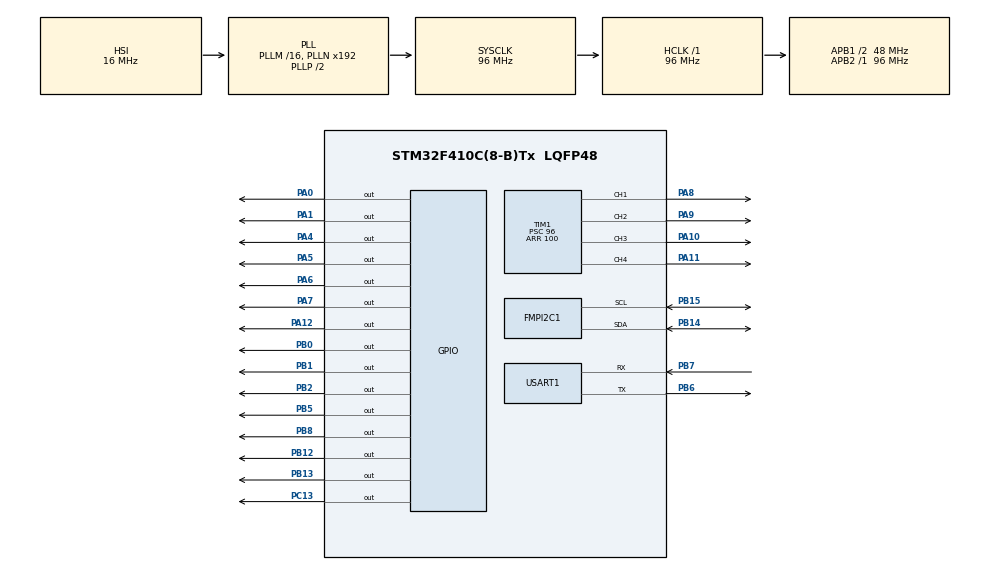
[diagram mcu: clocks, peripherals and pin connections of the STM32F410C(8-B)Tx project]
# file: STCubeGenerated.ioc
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Dma.Request0=USART1_RX
Dma.USART1_RX.0.Direction=DMA_PERIPH_TO_MEMORY
Dma.USART1_RX.0.FIFOMode=DMA_FIFOMODE_DISABLE
Dma.USART1_RX.0.Instance=DMA2_Stream2
Dma.USART1_RX.0.MemDataAlignment=DMA_MDATAALIGN_BYTE
Dma.USART1_RX.0.MemInc=DMA_MINC_ENABLE
Dma.USART1_RX.0.Mode=DMA_NORMAL
Dma.USART1_RX.0.PeriphDataAlignment=DMA_PDATAALIGN_BYTE
Dma.USART1_RX.0.PeriphInc=DMA_PINC_DISABLE
Dma.USART1_RX.0.Priority=DMA_PRIORITY_LOW
FMPI2C1.Timing=0x20303E5D
Mcu.Family=STM32F4
Mcu.Name=STM32F410C(8-B)Tx
Mcu.Package=LQFP48
NVIC.DMA2_Stream2_IRQn=true\:0\:0\:false\:false\:true\:false
NVIC.PriorityGroup=NVIC_PRIORITYGROUP_4
NVIC.USART1_IRQn=true\:0\:0\:false\:false\:true\:true
PA0-WKUP.Signal=GPIO_Output
PA1.Signal=GPIO_Output
PA10.Signal=S_TIM1_CH3
PA11.Signal=S_TIM1_CH4
PA12.Signal=GPIO_Output
PA13.Mode=JTAG_5_pins
PA13.Signal=SYS_JTMS-SWDIO
PA14.Mode=JTAG_5_pins
PA14.Signal=SYS_JTCK-SWCLK
PA15.Mode=JTAG_5_pins
PA15.Signal=SYS_JTDI
PA4.Signal=GPIO_Output
PA5.Signal=GPIO_Output
PA6.Signal=GPIO_Output
PA7.Signal=GPIO_Output
PA8.Signal=S_TIM1_CH1
PA9.Signal=S_TIM1_CH2
PB0.Signal=GPIO_Output
PB1.Signal=GPIO_Output
PB12.Signal=GPIO_Output
PB13.Signal=GPIO_Output
PB14.Mode=I2C
PB14.Signal=FMPI2C1_SDA
PB15.Mode=I2C
PB15.Signal=FMPI2C1_SCL
PB2.Signal=GPIO_Output
PB3.Mode=JTAG_5_pins
PB3.Signal=SYS_JTDO-SWO
PB4.Mode=JTAG_5_pins
PB4.Signal=SYS_JTRST
PB5.Signal=GPIO_Output
PB6.Mode=Asynchronous
PB6.Signal=USART1_TX
PB7.Mode=Asynchronous
PB7.Signal=USART1_RX
PB8.Signal=GPIO_Output
PC13-ANTI_TAMP.Signal=GPIO_Output
PC14-OSC32_IN.Mode=LSE-External-Oscillator
PC14-OSC32_IN.Signal=RCC_OSC32_IN
PC15-OSC32_OUT.Mode=LSE-External-Oscillator
PC15-OSC32_OUT.Signal=RCC_OSC32_OUT
PH0\ -\ OSC_IN.Mode=HSE-External-Oscillator
PH0\ -\ OSC_IN.Signal=RCC_OSC_IN
PH1\ -\ OSC_OUT.Mode=HSE-External-Oscillator
PH1\ -\ OSC_OUT.Signal=RCC_OSC_OUT
ProjectManager.HeapSize=0x200
ProjectManager.StackSize=0x400
ProjectManager.TargetToolchain=MDK-ARM V5
RCC.AHBFreq_Value=96000000
RCC.APB1CLKDivider=RCC_HCLK_DIV2
RCC.APB1Freq_Value=48000000
RCC.APB1TimFreq_Value=96000000
RCC.APB2Freq_Value=96000000
RCC.APB2TimFreq_Value=96000000
RCC.CortexFreq_Value=96000000
RCC.HCLKFreq_Value=96000000
RCC.HSE_VALUE=25000000
RCC.HSI_VALUE=16000000
RCC.RCC_RTC_Clock_Source=RCC_RTCCLKSOURCE_LSE
RCC.RCC_RTC_Clock_SourceVirtual=RCC_RTCCLKSOURCE_LSE
RCC.SYSCLKFreq_VALUE=96000000
RCC.SYSCLKSource=RCC_SYSCLKSOURCE_PLLCLK
RCC.VCOOutputFreq_Value=192000000
SH.S_TIM1_CH1.0=TIM1_CH1,PWM Generation1 CH1
SH.S_TIM1_CH2.0=TIM1_CH2,PWM Generation2 CH2
SH.S_TIM1_CH3.0=TIM1_CH3,PWM Generation3 CH3
SH.S_TIM1_CH4.0=TIM1_CH4,PWM Generation4 CH4
TIM1.Channel-PWM\ Generation1\ CH1=TIM_CHANNEL_1
TIM1.Channel-PWM\ Generation2\ CH2=TIM_CHANNEL_2
TIM1.Channel-PWM\ Generation3\ CH3=TIM_CHANNEL_3
TIM1.Channel-PWM\ Generation4\ CH4=TIM_CHANNEL_4
TIM1.Period=100
TIM1.Prescaler=96
TIM1.Pulse-PWM\ Generation1\ CH1=50
TIM1.Pulse-PWM\ Generation2\ CH2=50
TIM1.Pulse-PWM\ Generation3\ CH3=50
TIM1.Pulse-PWM\ Generation4\ CH4=50
USART1.VirtualMode=VM_ASYNC
VP_RTC_VS_RTC_Activate.Mode=RTC_Enabled
board=custom

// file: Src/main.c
/* USER CODE BEGIN Header */
/**
  ******************************************************************************
  * @file           : main.c
  * @brief          : Main program body
  ******************************************************************************
  ** This notice applies to any and all portions of this file
  * that are not between comment pairs USER CODE BEGIN and
  * USER CODE END. Other portions of this file, whether
  * inserted by the user or by software development tools
  * are owned by their respective copyright owners.
  *
  * COPYRIGHT(c) 2019 STMicroelectronics
  *
  * Redistribution and use in source and binary forms, with or without modification,
  * are permitted provided that the following conditions are met:
  *   1. Redistributions of source code must retain the above copyright notice,
  *      this list of conditions and the following disclaimer.
  *   2. Redistributions in binary form must reproduce the above copyright notice,
  *      this list of conditions and the following disclaimer in the documentation
  *      and/or other materials provided with the distribution.
  *   3. Neither the name of STMicroelectronics nor the names of its contributors
  *      may be used to endorse or promote products derived from this software
  *      without specific prior written permission.
  *
  * THIS SOFTWARE IS PROVIDED BY THE COPYRIGHT HOLDERS AND CONTRIBUTORS "AS IS"
  * AND ANY EXPRESS OR IMPLIED WARRANTIES, INCLUDING, BUT NOT LIMITED TO, THE
  * IMPLIED WARRANTIES OF MERCHANTABILITY AND FITNESS FOR A PARTICULAR PURPOSE ARE
  * DISCLAIMED. IN NO EVENT SHALL THE COPYRIGHT HOLDER OR CONTRIBUTORS BE LIABLE
  * FOR ANY DIRECT, INDIRECT, INCIDENTAL, SPECIAL, EXEMPLARY, OR CONSEQUENTIAL
  * DAMAGES (INCLUDING, BUT NOT LIMITED TO, PROCUREMENT OF SUBSTITUTE GOODS OR
  * SERVICES; LOSS OF USE, DATA, OR PROFITS; OR BUSINESS INTERRUPTION) HOWEVER
  * CAUSED AND ON ANY THEORY OF LIABILITY, WHETHER IN CONTRACT, STRICT LIABILITY,
  * OR TORT (INCLUDING NEGLIGENCE OR OTHERWISE) ARISING IN ANY WAY OUT OF THE USE
  * OF THIS SOFTWARE, EVEN IF ADVISED OF THE POSSIBILITY OF SUCH DAMAGE.
  *
  ******************************************************************************
  */
/* USER CODE END Header */

#include "main.h"

/* USER CODE BEGIN Includes */
#include "TJ_MPU6050.h"
#include "dwt_stm32_delay.h"
/* USER CODE END Includes */

FMPI2C_HandleTypeDef hfmpi2c1;

RTC_HandleTypeDef hrtc;

TIM_HandleTypeDef htim1;

UART_HandleTypeDef huart1;
DMA_HandleTypeDef hdma_usart1_rx;

void SystemClock_Config(void);
static void MX_GPIO_Init(void);
static void MX_DMA_Init(void);
static void MX_RTC_Init(void);
static void MX_FMPI2C1_Init(void);
static void MX_TIM1_Init(void);
static void MX_USART1_UART_Init(void);

/* USER CODE BEGIN 0 */
RawData_Def myAccelRaw, myGyroRaw;
ScaledData_Def myAccelScaled, myGyroScaled;
/* USER CODE END 0 */
	float sampling_period;
	float PI = 3.1415926535897;
	float acc_x, acc_y, acc_z;
	float gyro_x, gyro_y, gyro_z;
	float gyro_x_cal, gyro_y_cal, gyro_z_cal;
	float angle_pitch_gyro, angle_roll_gyro, angle_yaw_gyro;
	float angle_pitch_acc, angle_roll_acc, angle_yaw_acc, acc_total_vector;
	float angle_pitch_output, angle_roll_output, angle_yaw_output;
	bool set_gyro_angles = false;
	uint16_t dutyCycle = 2;
	//PID Variables
	float pid_error_roll, pid_error_pitch, pid_error_yaw;
	float pid_i_mem_roll, pid_i_mem_pitch, pid_i_mem_yaw;
	float pid_roll_setpoint, pid_pitch_setpoint, pid_yaw_setpoint;
	float pid_d_last_roll_error, pid_d_last_pitch_error, pid_d_last_yaw_error;
	float pid_out_roll, pid_out_pitch, pid_out_yaw;
	//Tune
	float pid_p_gain_roll = 1, pid_i_gain_roll = 1, pid_d_gain_roll =1;
	float pid_p_gain_pitch = 1, pid_i_gain_pitch = 1, pid_d_gain_pitch =1;
	float pid_p_gain_yaw = 1, pid_i_gain_yaw = 1, pid_d_gain_yaw = 1;
	//Motors
	float motor_1_fr, motor_2_rr, motor_3_rl, motor_4_fl;
	//Loop Timer
	uint32_t oldtime;
	int count;
	uint32_t newtime;
	int test, result;
	bool temp;
	long looptimer;
	float t1, t2, t3, t4, t5, t6, t7, t8, t9;
	char rx_buffer[50], tx_buffer[50];
	bool led_state = false;

	// bluetooth code
	char rxData[30];

int main(void)
{
  /* USER CODE BEGIN 1 */
	MPU_ConfigTypeDef myMpuConfig;
  /* USER CODE END 1 */

  /* MCU Configuration--------------------------------------------------------*/

  /* Reset of all peripherals, Initializes the Flash interface and the Systick. */
  HAL_Init();

  /* Configure the system clock */
  SystemClock_Config();

  /* Initialize all configured peripherals */
  MX_GPIO_Init();
  MX_DMA_Init();
  MX_RTC_Init();
  MX_FMPI2C1_Init();
  MX_TIM1_Init();
  MX_USART1_UART_Init();
  /* USER CODE BEGIN 2 */
	// added blut code
		char txData[30] = "Hello World\r\n";
	HAL_UART_Receive_DMA(&huart1, (uint8_t *)rxData, 10);

	//1. Initialize the MPU6050 module and I2C
	MPU6050_Init(&hfmpi2c1);
	//2. Configure Accel and Gyro Parameters
	myMpuConfig.Accel_Full_Scale = AFS_SEL_4g;
	myMpuConfig.ClockSource = Internal_8MHz;
	myMpuConfig.CONFIG_DLPF = DLPF_184A_188G_Hz;
	myMpuConfig.Gyro_Full_Scale = FS_SEL_500;
	myMpuConfig.Sleep_Mode_Bit = 0; //0 is normal mode
	MPU6050_Config(&myMpuConfig);
  /* USER CODE END 2 */

  /* Infinite loop */
  /* USER CODE BEGIN WHILE */
		//Output is 200Hz accordingly google calculation + Liz (caveat emptor)
		HAL_TIM_PWM_Start(&htim1,TIM_CHANNEL_1);
		HAL_TIM_PWM_Start(&htim1,TIM_CHANNEL_2);
		HAL_TIM_PWM_Start(&htim1,TIM_CHANNEL_3);
		HAL_TIM_PWM_Start(&htim1,TIM_CHANNEL_4);

		count = 0;
		temp = false;
		oldtime = 0;
		DWT_Delay_Init();

		//Aggregate loop average not working, numbers derived by observation
		gyro_x_cal = -140;
		gyro_y_cal = 45;
		gyro_z_cal = 70;

		t1 = 0;
		t2 = 0;
		t3 = 0;
		t4 = 0;
		t5 = 0;
		t6 = 0;
		t7 = 0;
		t8 = 0;
		t9 = 0;

					 //Solution
			//MPU6050_Get_Gyro_RawData(&myGyroRaw);
			//t1 = myGyroRaw.x;
			//t2 += t1;

		/*
		for (int cal_int = 0; cal_int < 2000; cal_int++)
		{
			MPU6050_Get_Gyro_RawData(&myGyroRaw);
			t1 = myGyroRaw.x;
			gyro_x_cal += t1;
			t2 = myGyroRaw.y;
			gyro_y_cal += t2;
			t3 = myGyroRaw.z;
			gyro_z_cal += t3;
			count++;
		}
		gyro_x_cal /= 2000;
		gyro_y_cal /= 2000;
		gyro_z_cal /= 2000;
		*/

		pid_i_mem_roll = 0;
		pid_i_mem_pitch = 0;
		pid_i_mem_yaw = 0;

		test = 49;
		result = sqrt(test);
		looptimer = HAL_GetTick();

  while (1)
  {

//				HAL_UART_Transmit(&huart1, myTxData, 13, 10);
//				HAL_GPIO_TogglePin(GPIOA, GPIO_PIN_4);
//				HAL_Delay(1000);

//			HAL_UART_Receive(&huart1, (uint8_t*)rx_buffer, 50, 500);
//
//			if(rx_buffer[0] == 'o' && rx_buffer[1] == 'n')
//			{
//				//HAL_GPIO_WritePin(GPIOA, GPIO_PIN_4, 1);	//Bloo
//				HAL_GPIO_WritePin(GPIOA, GPIO_PIN_4, GPIO_PIN_SET);
//				if(led_state != true)
//				HAL_UART_Transmit(&huart1, (uint8_t *)tx_buffer, sprintf(tx_buffer, "Led is on\n"), 500);
//				led_state = true;
//			}
//			else if(rx_buffer[0] == 'o' && rx_buffer[1] == 'f' && rx_buffer[2] == 'f')
//			{
//				HAL_GPIO_WritePin(GPIOA, GPIO_PIN_4, GPIO_PIN_RESET);
//				HAL_Delay(10);
//				if(led_state != false)
//				HAL_UART_Transmit(&huart1, (uint8_t *)tx_buffer, sprintf(tx_buffer, "Led is off\n"), 500);
//				led_state = false;
//
//			}

//			char buff2[ 6 ] = "\r\n>>";
//			HAL_UART_Transmit (&huart1, buff2, strlen( buff2 ), 10 );
//			char buff[50];
//			memset(buff,0,50);
//			HAL_UART_Receive(&huart1,buff,50,5000);
//			if(strcmp(buff, "on") == 0 )
//			{
//					HAL_GPIO_WritePin(GPIOA,GPIO_PIN_4,1);
//			} else if (strcmp(buff,"off") == 0) {
//					HAL_GPIO_WritePin(GPIOA,GPIO_PIN_4,0);
//
//			}

			//HAL_GPIO_TogglePin(GPIOA, GPIO_PIN_1);		// changed this!!!!!!!
			//HAL_GPIO_WritePin(GPIOA, GPIO_PIN_1, 1); 	//RED
			/*Solution
			MPU6050_Get_Gyro_RawData(&myGyroRaw);
			t1 = myGyroRaw.x;
			t2 += t1;
			*/

		//Microsecond Test
//			if(temp == false)
//			{
//				HAL_GPIO_WritePin(GPIOA, GPIO_PIN_3, 1);
//				HAL_GPIO_WritePin(GPIOA, GPIO_PIN_2, 1);
//				temp = true;
//			}
//			else
//			{
//				HAL_GPIO_WritePin(GPIOA, GPIO_PIN_3, 0);
//				HAL_GPIO_WritePin(GPIOA, GPIO_PIN_2, 0);
//				temp = false;
//			}
//
//			DWT_Delay_us(1000000);

			HAL_GPIO_WritePin(GPIOA, GPIO_PIN_2, 1); //Greem

//		//Time Splice
//		newtime = DWT->CYCCNT;
//
//		if((newtime - oldtime) > 3000000)
//		{
//			oldtime = newtime;
//			if(temp == false)
//			{
//			HAL_GPIO_WritePin(GPIOA, GPIO_PIN_3, 1);
//			temp = true;
//			}
//			else
//			{
//				HAL_GPIO_WritePin(GPIOA, GPIO_PIN_3, 0);
//				temp = false;
//			}
//		}

    /* USER CODE END WHILE */

    /* USER CODE BEGIN 3 */
//		//Raw Data
		MPU6050_Get_Accel_RawData(&myAccelRaw);
//		MPU6050_Get_Gyro_RawData(&myGyroRaw);
//		//Scaled Data
//		MPU6050_Get_Accel_Scale(&myAccelScaled);
//		MPU6050_Get_Gyro_Scale(&myGyroScaled);

		acc_x = myAccelRaw.x;
		acc_y = myAccelRaw.y;
		acc_z = myAccelRaw.z;

		/* Solution Must be in While(1)
		for (int cal_int = 0; cal_int < 2000; cal_int++)
		{
			MPU6050_Get_Gyro_RawData(&myGyroRaw);
			t1 = myGyroRaw.x;
			t4 += t1;
			t2 = myGyroRaw.y;
			t5 += t2;
			t3 = myGyroRaw.z;
			t6 += t3;
		}
		gyro_x_cal = t4/2000;
		gyro_y_cal = t5/2000;
		gyro_z_cal = t6/2000;
		*/

		MPU6050_Get_Gyro_RawData(&myGyroRaw);
		t4 = myGyroRaw.x;
		gyro_x = t4-gyro_x_cal;
		t5 = myGyroRaw.y;
		gyro_y = t5-gyro_y_cal;
		t6 = myGyroRaw.z;
		gyro_z = t6-gyro_z_cal;
//
//		gyro_x -= gyro_x_cal;
//		gyro_y -= gyro_y_cal;
//		gyro_z -= gyro_z_cal;
//
		//Gyro angle calculations, 250Hz = 1 loop every 4000uS
		t1 = gyro_x / (6.6666*65.5);
		angle_pitch_gyro += t1;
		t2 = gyro_y / (6.6666*65.5);
		angle_roll_gyro += t2;
		t3 = gyro_z / (-6.6666*65.5);
		angle_yaw_gyro += t3;
//
//
//		//0.000001066 = 0.0000611 * (3.142(PI) / 180degr) The Arduino sin function is in radians
//		angle_pitch_gyro += angle_roll_gyro * sin(gyro_z * (PI/180));               //If the IMU has yawed transfer the roll angle to the pitch angel
//		angle_roll_gyro -= angle_pitch_gyro * sin(gyro_z * (PI/180));               //If the IMU has yawed transfer the pitch angle to the roll angel
//
		//Accelerometer Angle Calculations
		acc_total_vector = sqrt((acc_x*acc_x)+(acc_y*acc_y)+(acc_z*acc_z));
		  //57.296 = 1 / (3.142 / 180) The Arduino asin function is in radians
		angle_pitch_acc = asin(acc_y/acc_total_vector)* 57.296;       //Calculate the pitch angle
		angle_roll_acc = asin(acc_x/acc_total_vector)* -57.296;       //Calculate the roll angle
		angle_yaw_acc = asin(acc_z/acc_total_vector)* -57.296;       //Calculate the yaw angle

		//angle_pitch_acc -= 0.0;
		//angle_roll_acc -= 0.0;

		if(set_gyro_angles){                                                 //If the IMU is already started
			angle_pitch_gyro = angle_pitch_gyro * 0.9 + angle_pitch_acc * 0.1;     //Correct the drift of the gyro pitch angle with the accelerometer pitch angle
			angle_roll_gyro = angle_roll_gyro * 0.9 + angle_roll_acc * 0.1;        //Correct the drift of the gyro roll angle with the accelerometer roll angle
			angle_yaw_gyro = angle_yaw_gyro * 0.9 + angle_yaw_acc * 0.1;
		}
		else{                                                                //At first start
			angle_pitch_gyro = angle_pitch_acc;                                     //Set the gyro pitch angle equal to the accelerometer pitch angle
			angle_roll_gyro = angle_roll_acc;                                       //Set the gyro roll angle equal to the accelerometer roll angle
			angle_yaw_gyro = angle_yaw_acc;
			set_gyro_angles = true;                                            //Set the IMU started flag
		}

		angle_pitch_output = angle_pitch_gyro;
		angle_roll_output = angle_roll_gyro;
		angle_yaw_output = angle_yaw_gyro + 87;

		//angle_pitch_output = angle_pitch_output * 0.9 + angle_pitch_gyro * 0.1;
		//angle_roll_output = angle_roll_output * 0.9 + angle_roll_gyro * 0.1;
//
//		/*Update new angle values, Sum Delays for Sampling Period
//		sampling_period = (looptimer*3)*.001;
//		angle_pitch_gyro += myGyroScaled.x*(180/PI) * sampling_period;
//		angle_roll_gyro += myGyroScaled.y*(180/PI) * sampling_period;
//		angle_yaw_gyro += myGyroScaled.z*(-180/PI) * sampling_period;
//
//		//Correct Gyro's Drift with Accelerometer Angles
//		if(set_gyro_angles)
//		{
//			angle_pitch_gyro = angle_pitch_gyro * 0.90 + angle_pitch_acc * 0.1;
//			angle_roll_gyro = angle_roll_gyro * 0.90 + angle_roll_acc * 0.1;
//			angle_yaw_gyro = angle_yaw_gyro * 0.90 + angle_yaw_acc * 0.1;

//		}
//		else
//		{
//			angle_pitch_gyro = angle_pitch_acc;
//			angle_roll_gyro = angle_roll_acc;
//			angle_yaw_gyro = angle_yaw_acc;
//			set_gyro_angles = true;
//		}
//		*/
//
		//Calculate Error
		pid_roll_setpoint = 0;
		pid_pitch_setpoint = 0;
		pid_yaw_setpoint = 0;
		pid_error_roll = angle_roll_output - pid_roll_setpoint;
		pid_error_pitch = angle_pitch_output - pid_pitch_setpoint;
		pid_error_yaw = angle_yaw_output - pid_yaw_setpoint;

		//PID Calculations
		//Roll Calculations P:(P_Gain * Error), I:(+=I_Gain * Error), D:(D_Gain * (Error - Last Error)
		t7 = pid_i_gain_roll * pid_error_roll;
		pid_i_mem_roll += t7;
		pid_out_roll = pid_p_gain_roll * pid_error_roll + pid_i_mem_roll + pid_d_gain_roll * (pid_error_roll - pid_d_last_roll_error);
		pid_d_last_roll_error = pid_error_roll;
		//Pitch Calculations
		t8 = pid_i_gain_pitch * pid_error_pitch;
		pid_i_mem_pitch += t8;
		pid_out_pitch = pid_p_gain_pitch * pid_error_pitch + pid_i_mem_pitch + pid_d_gain_pitch * (pid_error_pitch - pid_d_last_pitch_error);
		pid_d_last_pitch_error = pid_error_pitch;
		//Yaw Calculations
		t9 = pid_i_gain_yaw * pid_error_yaw;
		pid_i_mem_yaw +=  t9;
		pid_out_yaw = pid_p_gain_yaw * pid_error_yaw + pid_i_mem_yaw + pid_d_gain_yaw * (pid_error_yaw - pid_d_last_yaw_error);
		pid_d_last_yaw_error = pid_error_yaw;

		//PID Corrections Applied
		motor_1_fr = pid_out_roll - pid_out_pitch - pid_out_yaw;
		motor_2_rr = pid_out_roll + pid_out_pitch + pid_out_yaw;
		motor_3_rl = -pid_out_roll + pid_out_pitch - pid_out_yaw;
		motor_4_fl = -pid_out_roll - pid_out_pitch + pid_out_yaw;

		//Motor Output
		htim1.Instance->CCR1 = dutyCycle;
		htim1.Instance->CCR2 = dutyCycle;
		htim1.Instance->CCR3 = dutyCycle;
		htim1.Instance->CCR4 = dutyCycle;
		dutyCycle+= 2;
		if(dutyCycle == 30) dutyCycle=28;
		HAL_Delay(1000);

//
//		count++;
//		HAL_GPIO_WritePin(GPIOA, GPIO_PIN_3, 1);
//		while(HAL_GetTick() - looptimer < 1);

			//Use this to figure out loop time of code
			if(HAL_GetTick() - looptimer > 150)
			{
				HAL_GPIO_WritePin(GPIOA, GPIO_PIN_3, 1); //rad
			};

			//Control Looptime
			while(HAL_GetTick() - looptimer < 150);
			looptimer = HAL_GetTick();
  }
  /* USER CODE END 3 */
}

void SystemClock_Config(void)
{
  RCC_OscInitTypeDef RCC_OscInitStruct = {0};
  RCC_ClkInitTypeDef RCC_ClkInitStruct = {0};
  RCC_PeriphCLKInitTypeDef PeriphClkInitStruct = {0};

  /**Configure the main internal regulator output voltage
  */
  __HAL_RCC_PWR_CLK_ENABLE();
  __HAL_PWR_VOLTAGESCALING_CONFIG(PWR_REGULATOR_VOLTAGE_SCALE1);
  /**Initializes the CPU, AHB and APB busses clocks
  */
  RCC_OscInitStruct.OscillatorType = RCC_OSCILLATORTYPE_HSI|RCC_OSCILLATORTYPE_LSE;
  RCC_OscInitStruct.LSEState = RCC_LSE_ON;
  RCC_OscInitStruct.HSIState = RCC_HSI_ON;
  RCC_OscInitStruct.HSICalibrationValue = RCC_HSICALIBRATION_DEFAULT;
  RCC_OscInitStruct.PLL.PLLState = RCC_PLL_ON;
  RCC_OscInitStruct.PLL.PLLSource = RCC_PLLSOURCE_HSI;
  RCC_OscInitStruct.PLL.PLLM = 16;
  RCC_OscInitStruct.PLL.PLLN = 192;
  RCC_OscInitStruct.PLL.PLLP = RCC_PLLP_DIV2;
  RCC_OscInitStruct.PLL.PLLQ = 4;
  RCC_OscInitStruct.PLL.PLLR = 2;
  if (HAL_RCC_OscConfig(&RCC_OscInitStruct) != HAL_OK)
  {
    Error_Handler();
  }
  /**Initializes the CPU, AHB and APB busses clocks
  */
  RCC_ClkInitStruct.ClockType = RCC_CLOCKTYPE_HCLK|RCC_CLOCKTYPE_SYSCLK
                              |RCC_CLOCKTYPE_PCLK1|RCC_CLOCKTYPE_PCLK2;
  RCC_ClkInitStruct.SYSCLKSource = RCC_SYSCLKSOURCE_PLLCLK;
  RCC_ClkInitStruct.AHBCLKDivider = RCC_SYSCLK_DIV1;
  RCC_ClkInitStruct.APB1CLKDivider = RCC_HCLK_DIV2;
  RCC_ClkInitStruct.APB2CLKDivider = RCC_HCLK_DIV1;

  if (HAL_RCC_ClockConfig(&RCC_ClkInitStruct, FLASH_LATENCY_3) != HAL_OK)
  {
    Error_Handler();
  }
  PeriphClkInitStruct.PeriphClockSelection = RCC_PERIPHCLK_RTC|RCC_PERIPHCLK_FMPI2C1;
  PeriphClkInitStruct.RTCClockSelection = RCC_RTCCLKSOURCE_LSE;
  PeriphClkInitStruct.Fmpi2c1ClockSelection = RCC_FMPI2C1CLKSOURCE_APB;
  if (HAL_RCCEx_PeriphCLKConfig(&PeriphClkInitStruct) != HAL_OK)
  {
    Error_Handler();
  }
}

static void MX_FMPI2C1_Init(void)
{

  hfmpi2c1.Instance = FMPI2C1;
  hfmpi2c1.Init.Timing = 0x20303E5D;
  hfmpi2c1.Init.OwnAddress1 = 0;
  hfmpi2c1.Init.AddressingMode = FMPI2C_ADDRESSINGMODE_7BIT;
  hfmpi2c1.Init.DualAddressMode = FMPI2C_DUALADDRESS_DISABLE;
  hfmpi2c1.Init.OwnAddress2 = 0;
  hfmpi2c1.Init.OwnAddress2Masks = FMPI2C_OA2_NOMASK;
  hfmpi2c1.Init.GeneralCallMode = FMPI2C_GENERALCALL_DISABLE;
  hfmpi2c1.Init.NoStretchMode = FMPI2C_NOSTRETCH_DISABLE;
  if (HAL_FMPI2C_Init(&hfmpi2c1) != HAL_OK)
  {
    Error_Handler();
  }
  /**Configure Analogue filter
  */
  if (HAL_FMPI2CEx_ConfigAnalogFilter(&hfmpi2c1, FMPI2C_ANALOGFILTER_ENABLE) != HAL_OK)
  {
    Error_Handler();
  }

}

static void MX_RTC_Init(void)
{

  /**Initialize RTC Only
  */
  hrtc.Instance = RTC;
  hrtc.Init.HourFormat = RTC_HOURFORMAT_24;
  hrtc.Init.AsynchPrediv = 127;
  hrtc.Init.SynchPrediv = 255;
  hrtc.Init.OutPut = RTC_OUTPUT_DISABLE;
  hrtc.Init.OutPutPolarity = RTC_OUTPUT_POLARITY_HIGH;
  hrtc.Init.OutPutType = RTC_OUTPUT_TYPE_OPENDRAIN;
  if (HAL_RTC_Init(&hrtc) != HAL_OK)
  {
    Error_Handler();
  }

}

static void MX_TIM1_Init(void)
{

  TIM_MasterConfigTypeDef sMasterConfig = {0};
  TIM_OC_InitTypeDef sConfigOC = {0};
  TIM_BreakDeadTimeConfigTypeDef sBreakDeadTimeConfig = {0};

  htim1.Instance = TIM1;
  htim1.Init.Prescaler = 96;
  htim1.Init.CounterMode = TIM_COUNTERMODE_UP;
  htim1.Init.Period = 100;
  htim1.Init.ClockDivision = TIM_CLOCKDIVISION_DIV1;
  htim1.Init.RepetitionCounter = 0;
  if (HAL_TIM_PWM_Init(&htim1) != HAL_OK)
  {
    Error_Handler();
  }
  sMasterConfig.MasterOutputTrigger = TIM_TRGO_RESET;
  sMasterConfig.MasterSlaveMode = TIM_MASTERSLAVEMODE_DISABLE;
  if (HAL_TIMEx_MasterConfigSynchronization(&htim1, &sMasterConfig) != HAL_OK)
  {
    Error_Handler();
  }
  sConfigOC.OCMode = TIM_OCMODE_PWM1;
  sConfigOC.Pulse = 50;
  sConfigOC.OCPolarity = TIM_OCPOLARITY_HIGH;
  sConfigOC.OCNPolarity = TIM_OCNPOLARITY_HIGH;
  sConfigOC.OCFastMode = TIM_OCFAST_DISABLE;
  sConfigOC.OCIdleState = TIM_OCIDLESTATE_RESET;
  sConfigOC.OCNIdleState = TIM_OCNIDLESTATE_RESET;
  if (HAL_TIM_PWM_ConfigChannel(&htim1, &sConfigOC, TIM_CHANNEL_1) != HAL_OK)
  {
    Error_Handler();
  }
  if (HAL_TIM_PWM_ConfigChannel(&htim1, &sConfigOC, TIM_CHANNEL_2) != HAL_OK)
  {
    Error_Handler();
  }
  if (HAL_TIM_PWM_ConfigChannel(&htim1, &sConfigOC, TIM_CHANNEL_3) != HAL_OK)
  {
    Error_Handler();
  }
  if (HAL_TIM_PWM_ConfigChannel(&htim1, &sConfigOC, TIM_CHANNEL_4) != HAL_OK)
  {
    Error_Handler();
  }
  sBreakDeadTimeConfig.OffStateRunMode = TIM_OSSR_DISABLE;
  sBreakDeadTimeConfig.OffStateIDLEMode = TIM_OSSI_DISABLE;
  sBreakDeadTimeConfig.LockLevel = TIM_LOCKLEVEL_OFF;
  sBreakDeadTimeConfig.DeadTime = 0;
  sBreakDeadTimeConfig.BreakState = TIM_BREAK_DISABLE;
  sBreakDeadTimeConfig.BreakPolarity = TIM_BREAKPOLARITY_HIGH;
  sBreakDeadTimeConfig.AutomaticOutput = TIM_AUTOMATICOUTPUT_DISABLE;
  if (HAL_TIMEx_ConfigBreakDeadTime(&htim1, &sBreakDeadTimeConfig) != HAL_OK)
  {
    Error_Handler();
  }
  HAL_TIM_MspPostInit(&htim1);

}

static void MX_USART1_UART_Init(void)
{

  huart1.Instance = USART1;
  //huart1.Init.BaudRate = 115200;  changed this
	huart1.Init.BaudRate = 9600;
  huart1.Init.WordLength = UART_WORDLENGTH_8B;
  huart1.Init.StopBits = UART_STOPBITS_1;
  huart1.Init.Parity = UART_PARITY_NONE;
  huart1.Init.Mode = UART_MODE_TX_RX;
  huart1.Init.HwFlowCtl = UART_HWCONTROL_NONE;
  huart1.Init.OverSampling = UART_OVERSAMPLING_16;
  if (HAL_UART_Init(&huart1) != HAL_OK)
  {
    Error_Handler();
  }

}

static void MX_DMA_Init(void)
{
  /* DMA controller clock enable */
  __HAL_RCC_DMA2_CLK_ENABLE();

  /* DMA interrupt init */
  /* DMA2_Stream2_IRQn interrupt configuration */
  HAL_NVIC_SetPriority(DMA2_Stream2_IRQn, 0, 0);
  HAL_NVIC_EnableIRQ(DMA2_Stream2_IRQn);

}

static void MX_GPIO_Init(void)
{
  GPIO_InitTypeDef GPIO_InitStruct = {0};

  /* GPIO Ports Clock Enable */
  __HAL_RCC_GPIOC_CLK_ENABLE();
  __HAL_RCC_GPIOH_CLK_ENABLE();
  __HAL_RCC_GPIOA_CLK_ENABLE();
  __HAL_RCC_GPIOB_CLK_ENABLE();

  /*Configure GPIO pin Output Level */
  HAL_GPIO_WritePin(GPIOC, GPIO_PIN_13, GPIO_PIN_RESET);

  /*Configure GPIO pin Output Level */
  HAL_GPIO_WritePin(GPIOA, GPIO_PIN_0|GPIO_PIN_1|GPIO_PIN_4|GPIO_PIN_5
                          |GPIO_PIN_6|GPIO_PIN_7|GPIO_PIN_12, GPIO_PIN_RESET);

  /*Configure GPIO pin Output Level */
  HAL_GPIO_WritePin(GPIOB, GPIO_PIN_0|GPIO_PIN_1|GPIO_PIN_2|GPIO_PIN_12
                          |GPIO_PIN_13|GPIO_PIN_5|GPIO_PIN_8, GPIO_PIN_RESET);

  /*Configure GPIO pin : PC13 */
  GPIO_InitStruct.Pin = GPIO_PIN_13;
  GPIO_InitStruct.Mode = GPIO_MODE_OUTPUT_PP;
  GPIO_InitStruct.Pull = GPIO_NOPULL;
  GPIO_InitStruct.Speed = GPIO_SPEED_FREQ_LOW;
  HAL_GPIO_Init(GPIOC, &GPIO_InitStruct);

  /*Configure GPIO pins : PA0 PA1 PA4 PA5
                           PA6 PA7 PA12 */
  GPIO_InitStruct.Pin = GPIO_PIN_0|GPIO_PIN_1|GPIO_PIN_4|GPIO_PIN_5
                          |GPIO_PIN_6|GPIO_PIN_7|GPIO_PIN_12;
  GPIO_InitStruct.Mode = GPIO_MODE_OUTPUT_PP;
  GPIO_InitStruct.Pull = GPIO_NOPULL;
  GPIO_InitStruct.Speed = GPIO_SPEED_FREQ_LOW;
  HAL_GPIO_Init(GPIOA, &GPIO_InitStruct);

  /*Configure GPIO pins : PB0 PB1 PB2 PB12
                           PB13 PB5 PB8 */
  GPIO_InitStruct.Pin = GPIO_PIN_0|GPIO_PIN_1|GPIO_PIN_2|GPIO_PIN_12
                          |GPIO_PIN_13|GPIO_PIN_5|GPIO_PIN_8;
  GPIO_InitStruct.Mode = GPIO_MODE_OUTPUT_PP;
  GPIO_InitStruct.Pull = GPIO_NOPULL;
  GPIO_InitStruct.Speed = GPIO_SPEED_FREQ_LOW;
  HAL_GPIO_Init(GPIOB, &GPIO_InitStruct);

}

/* USER CODE BEGIN 4 */
void HAL_UART_RxCpltCallback(UART_HandleTypeDef *huart)
{
  /* Prevent unused argument(s) compilation warning */
  UNUSED(huart);
  /* NOTE: This function should not be modified, when the callback is needed,
           the HAL_UART_RxCpltCallback could be implemented in the user file
   */
	HAL_UART_Transmit(&huart1, (uint8_t *)rxData, strlen(rxData), 10);
	HAL_GPIO_TogglePin(GPIOA, GPIO_PIN_1);
}

/* USER CODE END 4 */

void Error_Handler(void)
{
}

/************************ (C) COPYRIGHT STMicroelectronics *****END OF FILE****/
